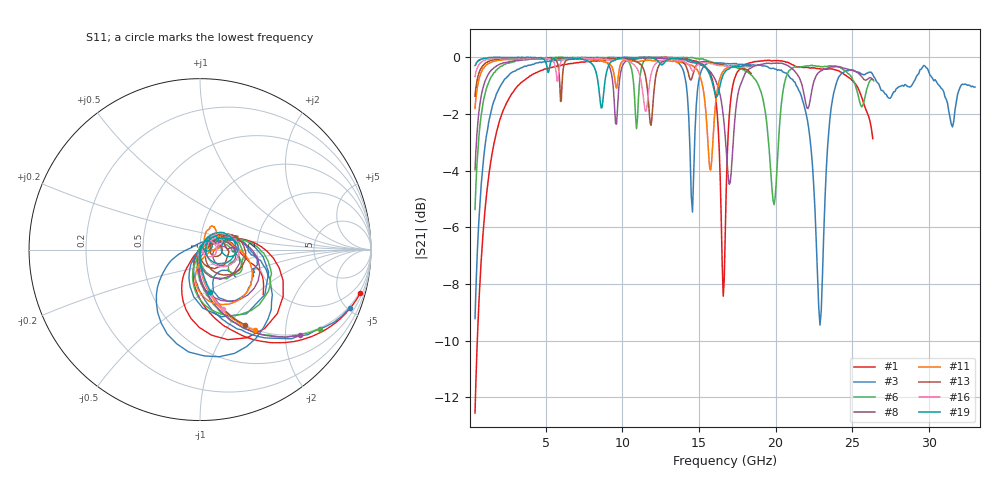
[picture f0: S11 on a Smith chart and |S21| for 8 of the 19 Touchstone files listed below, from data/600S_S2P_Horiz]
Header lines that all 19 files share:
!  One Norden Lane
!  Huntington Station,  NY.  11746-2102
!  Tel:  (631) 622-4700  Fax:  (631) 622-4748
!  Description: Ultra Low ESR Microwave capacitors
!  Application: Coupling, Bypass, Tuning, DC Block
!  Filters, Matching
# GHZ S DB R 50
! Freq  |S11|  S11 Ph  |S21|  S21 Ph  |S12|  S12 Ph  |S22|  S22 Ph
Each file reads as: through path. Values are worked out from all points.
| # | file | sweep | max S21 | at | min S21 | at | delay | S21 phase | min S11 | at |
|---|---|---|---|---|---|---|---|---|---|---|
| 1 | 600S1R0.S2P | 400 MHz to 26.34 GHz | 0.00 dB | 11.12 GHz | -12.6 dB | 400 MHz | 14.4 ps | -44 deg at 13.4 GHz | -75.1 dB | 12.69 GHz |
| 2 | 600S1R1.S2P | 400 MHz to 33 GHz | 0.00 dB | 10.1 GHz | -12.0 dB | 400 MHz | 12.7 ps | -50 deg at 16.7 GHz | -49.1 dB | 12.14 GHz |
| 3 | 600S1R5.S2P | 400 MHz to 33 GHz | 0.00 dB | 9.447 GHz | -9.5 dB | 22.89 GHz | 11.9 ps | -57 deg at 16.7 GHz | -47.9 dB | 15.88 GHz |
| 4 | 600S1R8.S2P | 400 MHz to 33 GHz | 0.00 dB | 7.98 GHz | -7.9 dB | 400 MHz | 11.8 ps | -58 deg at 16.7 GHz | -58.9 dB | 9.121 GHz |
| 5 | 600S2R2.S2P | 400 MHz to 26.4 GHz | 0.00 dB | 13.72 GHz | -6.4 dB | 400 MHz | 12.1 ps | -46 deg at 13.4 GHz | -60.0 dB | 12.55 GHz |
| 6 | 600S2R7.S2P | 400 MHz to 26.4 GHz | 0.00 dB | 5.665 GHz | -5.4 dB | 400 MHz | 12.1 ps | -47 deg at 13.4 GHz | -46.4 dB | 7.29 GHz |
| 7 | 600S3R0.S2P | 400 MHz to 26.4 GHz | 0.00 dB | 9.955 GHz | -4.6 dB | 21 GHz | 13.3 ps | -50 deg at 13.4 GHz | -51.2 dB | 7.68 GHz |
| 8 | 600S3R3.S2P | 400 MHz to 26.34 GHz | -0.01 dB | 11.9 GHz | -4.5 dB | 16.98 GHz | 11.2 ps | -47 deg at 13.4 GHz | -42.2 dB | 7.55 GHz |
| 9 | 600S4R7.S2P | 400 MHz to 18.4 GHz | -0.01 dB | 4.72 GHz | -4.8 dB | 13.18 GHz | 11.7 ps | -31 deg at 9.4 GHz | -68.8 dB | 6.16 GHz |
| 10 | 600S5R1.S2P | 400 MHz to 18 GHz | 0.09 dB | 6.604 GHz | -4.3 dB | 15.84 GHz | 12.2 ps | -34 deg at 9.2 GHz | -49.6 dB | 6.868 GHz |
| 11 | 600S5R6.S2P | 400 MHz to 18 GHz | -0.04 dB | 4.712 GHz | -4.0 dB | 15.76 GHz | 12.1 ps | -35 deg at 9.2 GHz | -43.0 dB | 6.604 GHz |
| 12 | 600S6R2.S2P | 400 MHz to 18 GHz | 0.08 dB | 6.604 GHz | -4.2 dB | 17.25 GHz | 12.6 ps | -31 deg at 9.2 GHz | -42.7 dB | 6.736 GHz |
| 13 | 600S6R8.S2P | 400 MHz to 18.4 GHz | -0.01 dB | 4.675 GHz | -2.4 dB | 11.88 GHz | 11.4 ps | -33 deg at 9.4 GHz | -47.7 dB | 5.125 GHz |
| 14 | 600S7R5.S2P | 400 MHz to 18.4 GHz | 0.00 dB | 12.82 GHz | -3.1 dB | 10.75 GHz | 11.3 ps | -35 deg at 9.4 GHz | -52.9 dB | 4.945 GHz |
| 15 | 600S8R2.S2P | 400 MHz to 18.36 GHz | -0.02 dB | 3.055 GHz | -2.6 dB | 5.44 GHz | 11.2 ps | -34 deg at 9.4 GHz | -55.8 dB | 4.54 GHz |
| 16 | 600S100.S2P | 400 MHz to 18.36 GHz | -0.02 dB | 2.74 GHz | -1.9 dB | 11.52 GHz | 11.2 ps | -35 deg at 9.4 GHz | -77.2 dB | 4.36 GHz |
| 17 | 600S110.S2P | 400 MHz to 18 GHz | 0.09 dB | 6.604 GHz | -2.8 dB | 9.552 GHz | 11.3 ps | -39 deg at 9.2 GHz | -46.3 dB | 10.04 GHz |
| 18 | 600S120.S2P | 400 MHz to 18 GHz | -0.04 dB | 2.424 GHz | -2.8 dB | 9.244 GHz | 11.3 ps | -38 deg at 9.2 GHz | -49.2 dB | 9.728 GHz |
| 19 | 600S150.S2P | 400 MHz to 18.4 GHz | 0.00 dB | 3.865 GHz | -1.8 dB | 8.635 GHz | 10.7 ps | -31 deg at 9.4 GHz | -60.7 dB | 3.325 GHz |
